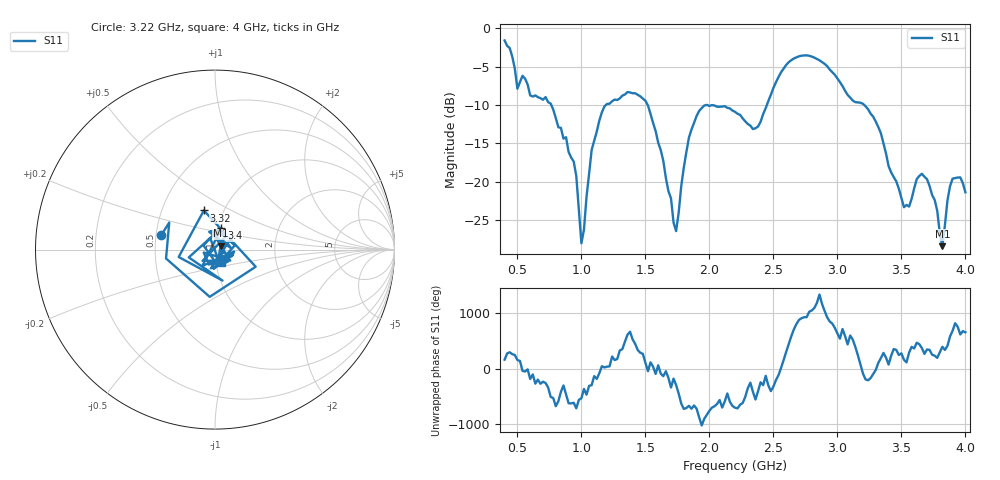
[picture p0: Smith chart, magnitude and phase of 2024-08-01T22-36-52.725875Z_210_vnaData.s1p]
!Created with skrf (http://scikit-rf.org).
# Hz S RI R 50.0
!freq ReS11 ImS11
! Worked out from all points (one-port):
!   181 points, 400 MHz to 4 GHz, reference 50 ohm
!   lowest |S11| = -28.4 dB at 3.82 GHz (marker M1), VSWR 1.08, Z = 53.2 + j2.31 ohm
!   |S11| at or under -10 dB: 1.518 GHz to 1.978 GHz (460.6 MHz wide, 26.3 % of centre); 1.981 GHz to 2.449 GHz (468.1 MHz wide, 21.1 % of centre); 3.209 GHz to end of sweep (the widest 3 of 4)
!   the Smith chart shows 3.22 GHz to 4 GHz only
!   S11 on the Smith chart (normalised r, x): 3.22 GHz: 0.53, +0.10; 3.32 GHz: 0.81, +0.37; 3.4 GHz: 1.04, +0.26; 4 GHz: 1.07, -0.16
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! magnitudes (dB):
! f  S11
! 400 MHz  -1.6
! 500 MHz  -7.9
! 720 MHz  -9.0
! 860 MHz  -14.4
! 960 MHz  -19.3
! 1 GHz  -28.0
! 1.08 GHz  -15.9
! 1.14 GHz  -12.0
! 1.3 GHz  -9.1
! 1.52 GHz  -10.1
! 1.72 GHz  -25.3
! 1.76 GHz  -24.0
! 1.84 GHz  -14.3
! 1.92 GHz  -10.8
! 2.2 GHz  -10.9
! 2.38 GHz  -12.8
! 2.66 GHz  -3.9
! 2.9 GHz  -4.6
! 3.1 GHz  -9.0
! 3.22 GHz  -10.2
! 3.32 GHz  -12.9
! 3.4 GHz  -18.0
! 3.56 GHz  -23.2
! 3.62 GHz  -19.7
! 3.7 GHz  -19.7
! 3.82 GHz  -28.4
! 3.9 GHz  -19.6
! 4 GHz  -21.4
